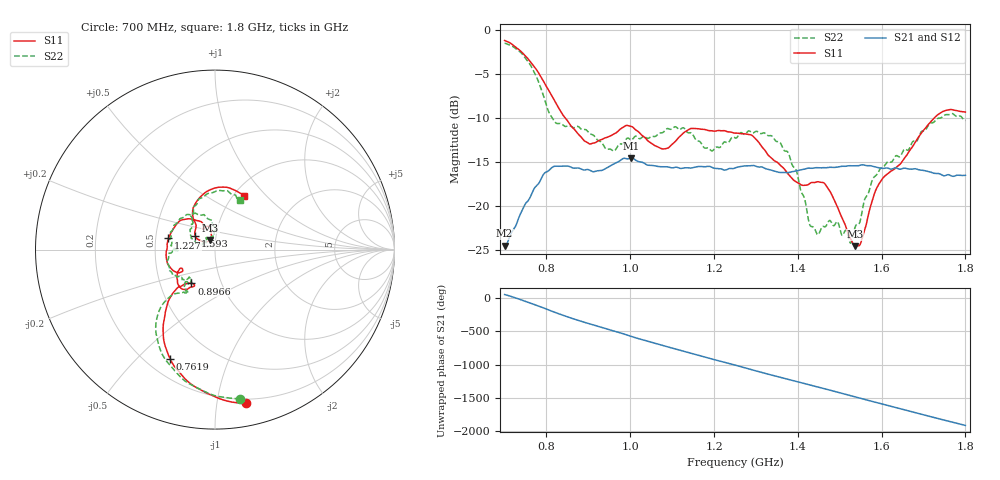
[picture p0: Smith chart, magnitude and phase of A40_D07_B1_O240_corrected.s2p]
! Created with skrf 1.9.0 (http://scikit-rf.org).
# Hz S RI R 50.0
!freq ReS11 ImS11 ReS21 ImS21 ReS12 ImS12 ReS22 ImS22
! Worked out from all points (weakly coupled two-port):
!   1601 points, 700 MHz to 1.8 GHz, reference 50 ohm
!   highest |S21| = -14.56 dB at 1.002 GHz (marker M1); lowest = -24.5 dB at 700 MHz (marker M2)
!   lowest |S11| = -24.6 dB at 1.537 GHz (marker M3), VSWR 1.13, Z = 47.2 + j5.03 ohm
!   |S11| at or under -10 dB: 844.7 MHz to 1.726 GHz (880.8 MHz wide, 68.5 % of centre)
!   |S22| runs from -24.2 to -1.5 dB; largest |S21 - S12| = 0.0035
!   S11 on the Smith chart (normalised r, x): 700 MHz: 0.17, -1.21; 761.9 MHz: 0.29, -0.63; 896.6 MHz: 0.72, -0.29; 1.227 GHz: 0.58, +0.08; 1.593 GHz: 0.79, +0.12; 1.8 GHz: 1.12, +0.76
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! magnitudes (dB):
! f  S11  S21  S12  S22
! 700 MHz  -1.2  -24.5  -24.3  -1.5
! 761.9 MHz  -3.6  -18.9  -18.9  -4.0
! 818.9 MHz  -8.0  -15.5  -15.6  -10.4
! 883.6 MHz  -12.2  -15.8  -15.7  -11.3
! 896.6 MHz  -12.8  -15.9  -16.0  -11.4
! 958.5 MHz  -11.9  -15.3  -15.3  -13.7
! 1.002 GHz  -11.0  -14.6  -14.7  -12.5
! 1.067 GHz  -13.3  -15.5  -15.5  -11.8
! 1.145 GHz  -11.2  -15.7  -15.7  -11.7
! 1.227 GHz  -11.5  -15.9  -15.9  -12.7
! 1.25 GHz  -11.7  -15.7  -15.6  -12.3
! 1.357 GHz  -15.3  -16.2  -16.1  -12.8
! 1.396 GHz  -17.3  -16.0  -16.0  -15.9
! 1.434 GHz  -17.3  -15.7  -15.7  -22.4
! 1.471 GHz  -17.9  -15.6  -15.6  -22.0
! 1.526 GHz  -23.7  -15.4  -15.4  -24.2
! 1.537 GHz  -24.6  -15.4  -15.4  -22.4
! 1.551 GHz  -24.1  -15.3  -15.4  -21.2
! 1.593 GHz  -17.6  -15.7  -15.6  -16.1
! 1.617 GHz  -16.2  -15.7  -15.7  -15.0
! 1.733 GHz  -9.7  -16.3  -16.3  -10.1
! 1.8 GHz  -9.3  -16.5  -16.5  -10.3
